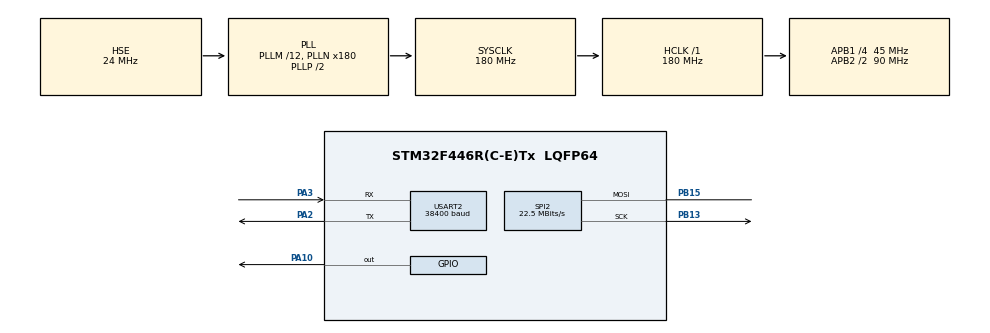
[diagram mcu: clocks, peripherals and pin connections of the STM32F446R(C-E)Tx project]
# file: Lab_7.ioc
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Dma.Request0=SPI2_TX
Dma.SPI2_TX.0.Direction=DMA_MEMORY_TO_PERIPH
Dma.SPI2_TX.0.FIFOMode=DMA_FIFOMODE_DISABLE
Dma.SPI2_TX.0.Instance=DMA1_Stream4
Dma.SPI2_TX.0.MemDataAlignment=DMA_MDATAALIGN_BYTE
Dma.SPI2_TX.0.MemInc=DMA_MINC_ENABLE
Dma.SPI2_TX.0.Mode=DMA_NORMAL
Dma.SPI2_TX.0.PeriphDataAlignment=DMA_PDATAALIGN_BYTE
Dma.SPI2_TX.0.PeriphInc=DMA_PINC_DISABLE
Dma.SPI2_TX.0.Priority=DMA_PRIORITY_LOW
Mcu.Family=STM32F4
Mcu.Name=STM32F446R(C-E)Tx
Mcu.Package=LQFP64
NVIC.DMA1_Stream4_IRQn=true\:0\:0\:false\:false\:true\:false\:true\:true
NVIC.PriorityGroup=NVIC_PRIORITYGROUP_4
NVIC.SPI2_IRQn=true\:0\:0\:false\:false\:true\:true\:true\:true
NVIC.TIM1_BRK_TIM9_IRQn=true\:0\:0\:false\:false\:true\:true\:true\:true
NVIC.TIM1_CC_IRQn=true\:0\:0\:false\:false\:true\:true\:true\:true
NVIC.TIM1_TRG_COM_TIM11_IRQn=true\:0\:0\:false\:false\:true\:true\:true\:true
NVIC.TIM1_UP_TIM10_IRQn=true\:0\:0\:false\:false\:true\:true\:true\:true
NVIC.USART2_IRQn=true\:0\:0\:false\:false\:true\:true\:true\:true
PA10.Signal=GPIO_Output
PA2.Mode=Asynchronous
PA2.Signal=USART2_TX
PA3.Mode=Asynchronous
PA3.Signal=USART2_RX
PB13.Mode=Simplex_Bidirectional_Master
PB13.Signal=SPI2_SCK
PB15.Mode=Simplex_Bidirectional_Master
PB15.Signal=SPI2_MOSI
PH0-OSC_IN.Mode=HSE-External-Oscillator
PH0-OSC_IN.Signal=RCC_OSC_IN
PH1-OSC_OUT.Mode=HSE-External-Oscillator
PH1-OSC_OUT.Signal=RCC_OSC_OUT
ProjectManager.HeapSize=0x200
ProjectManager.StackSize=0x400
ProjectManager.TargetToolchain=STM32CubeIDE
RCC.AHBFreq_Value=180000000
RCC.APB1CLKDivider=RCC_HCLK_DIV4
RCC.APB1Freq_Value=45000000
RCC.APB1TimFreq_Value=90000000
RCC.APB2CLKDivider=RCC_HCLK_DIV2
RCC.APB2Freq_Value=90000000
RCC.APB2TimFreq_Value=180000000
RCC.CortexFreq_Value=180000000
RCC.HCLKFreq_Value=180000000
RCC.HSE_VALUE=24000000
RCC.PLLM=12
RCC.PLLN=180
RCC.PLLSourceVirtual=RCC_PLLSOURCE_HSE
RCC.SYSCLKFreq_VALUE=180000000
RCC.SYSCLKSource=RCC_SYSCLKSOURCE_PLLCLK
RCC.USBFreq_Value=180000000
RCC.VCOOutputFreq_Value=360000000
SPI2.BaudRatePrescaler=SPI_BAUDRATEPRESCALER_2
SPI2.CalculateBaudRate=22.5 MBits/s
SPI2.Direction=SPI_DIRECTION_1LINE
SPI2.Mode=SPI_MODE_MASTER
SPI2.VirtualType=VM_MASTER
TIM1.Period=999
TIM1.Prescaler=89
USART2.BaudRate=38400
USART2.VirtualMode=VM_ASYNC
VP_TIM1_VS_ClockSourceINT.Mode=Internal
board=custom

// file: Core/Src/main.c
/* USER CODE BEGIN Header */
/**
  ******************************************************************************
  * @file           : main.c
  * @brief          : Main program body
  ******************************************************************************
  * @attention
  *
  * Copyright (c) 2024 STMicroelectronics.
  * All rights reserved.
  *
  * This software is licensed under terms that can be found in the LICENSE file
  * in the root directory of this software component.
  * If no LICENSE file comes with this software, it is provided AS-IS.
  *
  ******************************************************************************
  */
/* USER CODE END Header */
#include "main.h"

/* USER CODE BEGIN PD */
#define LATCH_PIN GPIO_PIN_10
#define LATCH_PORT GPIOA
#define CS_RESET 0
#define CS_SET 1

#define START_SYMBOL 'S'
#define END_SYMBOL 'E'
/* USER CODE END PD */

 SPI_HandleTypeDef hspi2;
DMA_HandleTypeDef hdma_spi2_tx;

TIM_HandleTypeDef htim1;

UART_HandleTypeDef huart2;

/* USER CODE BEGIN PV */
uint8_t uart_rx_data[10] = {'0'};
uint8_t num_data[8] = {0};
uint8_t spi_tx_data[2];
uint8_t current_digit = 0;
uint8_t segment_digits[] = {
	0b00111111, // 0
	0b00000110, // 1
	0b01011011, // 2
	0b01001111, // 3
	0b01100110, // 4
	0b01101101, // 5
	0b01111101, // 6
	0b00000111, // 7
	0b01111111, // 8
	0b01101111  // 9
};
/* USER CODE END PV */

void SystemClock_Config(void);
static void MX_GPIO_Init(void);
static void MX_USART2_UART_Init(void);
static void MX_DMA_Init(void);
static void MX_SPI2_Init(void);
static void MX_TIM1_Init(void);
/* USER CODE BEGIN PFP */
void send_next_digit();
/* USER CODE END PFP */

int main(void)
{

  /* MCU Configuration--------------------------------------------------------*/

  /* Reset of all peripherals, Initializes the Flash interface and the Systick. */
  HAL_Init();

  /* Configure the system clock */
  SystemClock_Config();

  /* Initialize all configured peripherals */
  MX_GPIO_Init();
  MX_USART2_UART_Init();
  MX_DMA_Init();
  MX_SPI2_Init();
  MX_TIM1_Init();
  /* USER CODE BEGIN 2 */
  HAL_TIM_Base_Start_IT(&htim1);
  HAL_UART_Receive_IT(&huart2, uart_rx_data, sizeof(uart_rx_data));
  /* USER CODE END 2 */

  /* Infinite loop */
  while (1)
  {

  }
}

void SystemClock_Config(void)
{
  RCC_OscInitTypeDef RCC_OscInitStruct = {0};
  RCC_ClkInitTypeDef RCC_ClkInitStruct = {0};

  /** Configure the main internal regulator output voltage
  */
  __HAL_RCC_PWR_CLK_ENABLE();
  __HAL_PWR_VOLTAGESCALING_CONFIG(PWR_REGULATOR_VOLTAGE_SCALE1);

  /** Initializes the RCC Oscillators according to the specified parameters
  * in the RCC_OscInitTypeDef structure.
  */
  RCC_OscInitStruct.OscillatorType = RCC_OSCILLATORTYPE_HSE;
  RCC_OscInitStruct.HSEState = RCC_HSE_ON;
  RCC_OscInitStruct.PLL.PLLState = RCC_PLL_ON;
  RCC_OscInitStruct.PLL.PLLSource = RCC_PLLSOURCE_HSE;
  RCC_OscInitStruct.PLL.PLLM = 12;
  RCC_OscInitStruct.PLL.PLLN = 180;
  RCC_OscInitStruct.PLL.PLLP = RCC_PLLP_DIV2;
  RCC_OscInitStruct.PLL.PLLQ = 2;
  RCC_OscInitStruct.PLL.PLLR = 2;
  if (HAL_RCC_OscConfig(&RCC_OscInitStruct) != HAL_OK)
  {
    Error_Handler();
  }

  /** Activate the Over-Drive mode
  */
  if (HAL_PWREx_EnableOverDrive() != HAL_OK)
  {
    Error_Handler();
  }

  /** Initializes the CPU, AHB and APB buses clocks
  */
  RCC_ClkInitStruct.ClockType = RCC_CLOCKTYPE_HCLK|RCC_CLOCKTYPE_SYSCLK
                              |RCC_CLOCKTYPE_PCLK1|RCC_CLOCKTYPE_PCLK2;
  RCC_ClkInitStruct.SYSCLKSource = RCC_SYSCLKSOURCE_PLLCLK;
  RCC_ClkInitStruct.AHBCLKDivider = RCC_SYSCLK_DIV1;
  RCC_ClkInitStruct.APB1CLKDivider = RCC_HCLK_DIV4;
  RCC_ClkInitStruct.APB2CLKDivider = RCC_HCLK_DIV2;

  if (HAL_RCC_ClockConfig(&RCC_ClkInitStruct, FLASH_LATENCY_5) != HAL_OK)
  {
    Error_Handler();
  }
}

static void MX_SPI2_Init(void)
{

  /* SPI2 parameter configuration*/
  hspi2.Instance = SPI2;
  hspi2.Init.Mode = SPI_MODE_MASTER;
  hspi2.Init.Direction = SPI_DIRECTION_1LINE;
  hspi2.Init.DataSize = SPI_DATASIZE_8BIT;
  hspi2.Init.CLKPolarity = SPI_POLARITY_LOW;
  hspi2.Init.CLKPhase = SPI_PHASE_1EDGE;
  hspi2.Init.NSS = SPI_NSS_SOFT;
  hspi2.Init.BaudRatePrescaler = SPI_BAUDRATEPRESCALER_2;
  hspi2.Init.FirstBit = SPI_FIRSTBIT_MSB;
  hspi2.Init.TIMode = SPI_TIMODE_DISABLE;
  hspi2.Init.CRCCalculation = SPI_CRCCALCULATION_DISABLE;
  hspi2.Init.CRCPolynomial = 10;
  if (HAL_SPI_Init(&hspi2) != HAL_OK)
  {
    Error_Handler();
  }

}

static void MX_TIM1_Init(void)
{

  TIM_ClockConfigTypeDef sClockSourceConfig = {0};
  TIM_MasterConfigTypeDef sMasterConfig = {0};

  htim1.Instance = TIM1;
  htim1.Init.Prescaler = 89;
  htim1.Init.CounterMode = TIM_COUNTERMODE_UP;
  htim1.Init.Period = 999;
  htim1.Init.ClockDivision = TIM_CLOCKDIVISION_DIV1;
  htim1.Init.RepetitionCounter = 0;
  htim1.Init.AutoReloadPreload = TIM_AUTORELOAD_PRELOAD_DISABLE;
  if (HAL_TIM_Base_Init(&htim1) != HAL_OK)
  {
    Error_Handler();
  }
  sClockSourceConfig.ClockSource = TIM_CLOCKSOURCE_INTERNAL;
  if (HAL_TIM_ConfigClockSource(&htim1, &sClockSourceConfig) != HAL_OK)
  {
    Error_Handler();
  }
  sMasterConfig.MasterOutputTrigger = TIM_TRGO_RESET;
  sMasterConfig.MasterSlaveMode = TIM_MASTERSLAVEMODE_DISABLE;
  if (HAL_TIMEx_MasterConfigSynchronization(&htim1, &sMasterConfig) != HAL_OK)
  {
    Error_Handler();
  }

}

static void MX_USART2_UART_Init(void)
{

  huart2.Instance = USART2;
  huart2.Init.BaudRate = 38400;
  huart2.Init.WordLength = UART_WORDLENGTH_8B;
  huart2.Init.StopBits = UART_STOPBITS_1;
  huart2.Init.Parity = UART_PARITY_NONE;
  huart2.Init.Mode = UART_MODE_TX_RX;
  huart2.Init.HwFlowCtl = UART_HWCONTROL_NONE;
  huart2.Init.OverSampling = UART_OVERSAMPLING_16;
  if (HAL_UART_Init(&huart2) != HAL_OK)
  {
    Error_Handler();
  }

}

static void MX_DMA_Init(void)
{

  /* DMA controller clock enable */
  __HAL_RCC_DMA1_CLK_ENABLE();

  /* DMA interrupt init */
  /* DMA1_Stream4_IRQn interrupt configuration */
  HAL_NVIC_SetPriority(DMA1_Stream4_IRQn, 0, 0);
  HAL_NVIC_EnableIRQ(DMA1_Stream4_IRQn);

}

static void MX_GPIO_Init(void)
{
  GPIO_InitTypeDef GPIO_InitStruct = {0};

  /* GPIO Ports Clock Enable */
  __HAL_RCC_GPIOH_CLK_ENABLE();
  __HAL_RCC_GPIOA_CLK_ENABLE();
  __HAL_RCC_GPIOB_CLK_ENABLE();

  /*Configure GPIO pin Output Level */
  HAL_GPIO_WritePin(GPIOA, GPIO_PIN_10, GPIO_PIN_RESET);

  /*Configure GPIO pin : PA10 */
  GPIO_InitStruct.Pin = GPIO_PIN_10;
  GPIO_InitStruct.Mode = GPIO_MODE_OUTPUT_PP;
  GPIO_InitStruct.Pull = GPIO_NOPULL;
  GPIO_InitStruct.Speed = GPIO_SPEED_FREQ_LOW;
  HAL_GPIO_Init(GPIOA, &GPIO_InitStruct);

}

/* USER CODE BEGIN 4 */
void send_next_digit() {
    if (current_digit < 8) {
        uint8_t digit = num_data[current_digit];
        uint8_t segment = segment_digits[digit];
        uint8_t position = ~(1 << current_digit);

        spi_tx_data[0] = segment;
        spi_tx_data[1] = position;

        HAL_GPIO_WritePin(LATCH_PORT, LATCH_PIN, CS_RESET);
        HAL_SPI_Transmit_DMA(&hspi2, spi_tx_data, 2);
    }
}

void HAL_UART_RxCpltCallback(UART_HandleTypeDef *huart) {
	if (huart->Instance == USART2) {
		if (uart_rx_data[0] == START_SYMBOL && uart_rx_data[9] == END_SYMBOL) {
			for (int i = 0; i < 8; i++) num_data[i] = uart_rx_data[i + 1] - '0';
		}
		HAL_UART_Receive_IT(&huart2, uart_rx_data, sizeof(uart_rx_data));
	}
}

void HAL_SPI_TxCpltCallback(SPI_HandleTypeDef *hspi) {
    if (hspi->Instance == SPI2) {
        HAL_GPIO_WritePin(LATCH_PORT, LATCH_PIN, CS_SET);

        current_digit++;

        if (current_digit >= 8) {
        	current_digit = 0;
        }
    }
}

void HAL_TIM_PeriodElapsedCallback(TIM_HandleTypeDef *htim) {
    if (htim->Instance == TIM1) {
    	send_next_digit();
    }
}
/* USER CODE END 4 */

void Error_Handler(void)
{
  __disable_irq();
  while (1)
  {
  }
}
